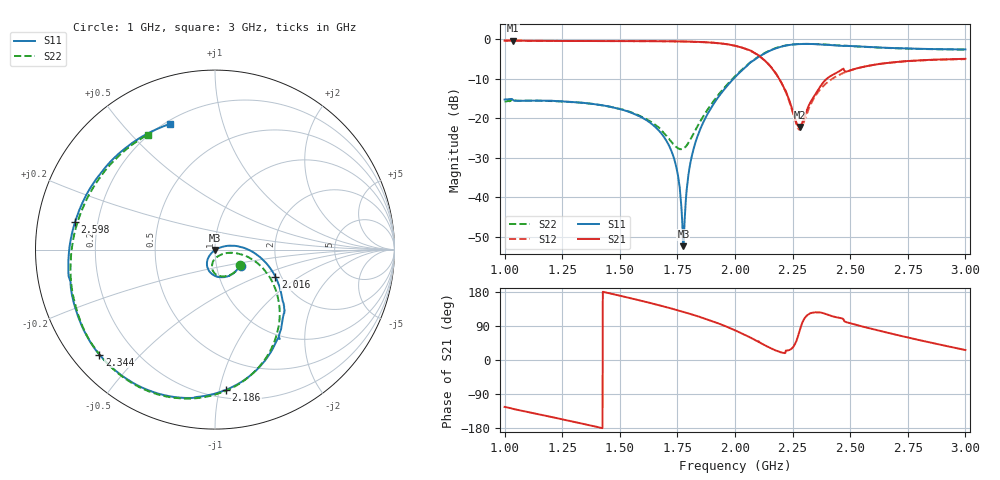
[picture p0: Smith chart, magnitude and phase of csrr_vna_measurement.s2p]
#  HZ  S  MA  R  50.00
! Rohde & Schwarz Vector Network Analyzer
! Rohde-Schwarz,ZNB20-2Port,1311601062102213,3.30
! Created: UTC 2/27/2026, 9:30:31 AM
! freq[Hz]  mag:S11  ang:S11  mag:S21  ang:S21  mag:S12  ang:S12  mag:S22  ang:S22
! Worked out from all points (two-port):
!   1601 points, 1 GHz to 3 GHz, reference 50 ohm
!   highest |S21| = -0.31 dB at 1.035 GHz (marker M1); lowest = -22.2 dB at 2.28 GHz (marker M2)
!   |S21| within 3 dB of the highest: start of sweep to 2.08 GHz
!   lowest |S11| = -52.4 dB at 1.776 GHz (marker M3), VSWR 1.00, Z = 50.1 - j0.194 ohm
!   |S11| at or under -10 dB: start of sweep to 1.994 GHz
!   |S22| runs from -27.8 to -1.1 dB; largest |S21 - S12| = 0.071
!   S11 on the Smith chart (normalised r, x): 1 GHz: 1.32, -0.24; 2.016 GHz: 1.86, -0.66; 2.186 GHz: 0.26, -1.05; 2.344 GHz: 0.08, -0.38; 2.598 GHz: 0.12, +0.10; 3 GHz: 0.22, +0.68
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1e9  0.1727 -31.2  0.9617 -123.8  0.9613 -124.5  0.1625 -32.3
1.035e9  0.1727 -38.8  0.9649 -128.6  0.9667 -128.4  0.1659 -32.7
1.33375e9  0.1573 -77.9  0.9509 -167.5  0.9519 -167.5  0.1574 -72.3
1.5375e9  0.1212 -106.8  0.9482 164.4  0.9495 164.5  0.1222 -94.5
1.6675e9  0.07102 -126.2  0.9456 144.9  0.947 145.0  0.0772 -100.6
1.73875e9  0.02873 -134.7  0.9418 133.4  0.9417 133.3  0.04505 -81.5
1.755e9  0.017 -134.7  0.9404 130.6  0.9405 130.6  0.04148 -69.2
1.77e9  0.005598 -121.3  0.939 128.0  0.939 128.0  0.04076 -55.4
1.77625e9  0.002402 -53.8  0.9384 126.9  0.9383 126.9  0.04152 -49.6
1.8025e9  0.02371 22.1  0.9347 122.2  0.9347 122.1  0.05145 -27.5
1.8375e9  0.05943 18.5  0.9282 115.6  0.9281 115.6  0.07954 -13.2
2e9  0.3312 -19.4  0.8292 78.4  0.83 78.5  0.3402 -26.6
2.01625e9  0.3695 -24.3  0.8073 73.8  0.8075 73.9  0.3785 -30.7
2.1025e9  0.602 -53.8  0.6264 48.1  0.6231 47.6  0.6034 -56.3
2.18625e9  0.7842 -85.6  0.3364 23.0  0.3377 22.8  0.7901 -85.8
2.28e9  0.8702 -118.7  0.07789 76.1  0.07201 68.4  0.8732 -116.9
2.33375e9  0.8718 -135.0  0.1716 124.4  0.1613 116.8  0.8735 -131.9
2.34375e9  0.8702 -137.8  0.1907 125.5  0.1817 117.3  0.8719 -134.5
2.46125e9  0.8281 -166.3  0.4091 110.3  0.3645 102.7  0.8336 -160.5
2.5975e9  0.7947 168.7  0.4724 81.6  0.4722 80.9  0.7917 175.6
2.6675e9  0.779 157.1  0.5044 71.0  0.5029 70.4  0.7752 164.9
3e9  0.7438 109.9  0.5663 26.3  0.5601 25.9  0.7417 120.3
